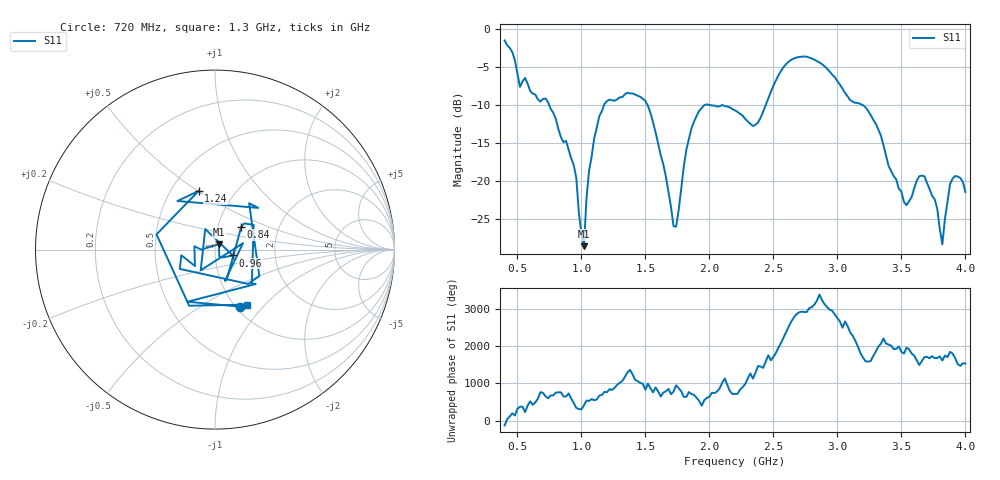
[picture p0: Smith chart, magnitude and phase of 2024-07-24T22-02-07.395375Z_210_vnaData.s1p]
!Created with skrf (http://scikit-rf.org).
# Hz S RI R 50.0
!freq ReS11 ImS11
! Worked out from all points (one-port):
!   181 points, 400 MHz to 4 GHz, reference 50 ohm
!   lowest |S11| = -28.6 dB at 1.02 GHz (marker M1), VSWR 1.08, Z = 52.1 + j3.14 ohm
!   |S11| at or under -10 dB: 1.516 GHz to 1.968 GHz (451.9 MHz wide, 25.9 % of centre); 1.997 GHz to 2.44 GHz (443.3 MHz wide, 20 % of centre); 3.194 GHz to end of sweep (the widest 3 of 4)
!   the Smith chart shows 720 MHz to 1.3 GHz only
!   S11 on the Smith chart (normalised r, x): 720 MHz: 1.05, -0.76; 840 MHz: 1.29, +0.34; 960 MHz: 1.22, -0.08; 1.24 GHz: 0.68, +0.50; 1.3 GHz: 1.14, -0.80
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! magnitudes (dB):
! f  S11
! 400 MHz  -1.5
! 520 MHz  -7.6
! 720 MHz  -9.2
! 840 MHz  -14.3
! 860 MHz  -14.9
! 960 MHz  -19.6
! 1.02 GHz  -28.6
! 1.06 GHz  -18.7
! 1.1 GHz  -14.4
! 1.24 GHz  -9.4
! 1.3 GHz  -9.0
! 1.5 GHz  -9.5
! 1.64 GHz  -17.9
! 1.72 GHz  -26.0
! 1.76 GHz  -23.9
! 1.82 GHz  -15.9
! 1.92 GHz  -10.8
! 2.2 GHz  -10.7
! 2.36 GHz  -12.6
! 2.66 GHz  -3.9
! 3.1 GHz  -9.4
! 3.26 GHz  -11.3
! 3.56 GHz  -22.7
! 3.68 GHz  -19.4
! 3.78 GHz  -23.7
! 3.82 GHz  -28.4
! 3.88 GHz  -20.5
! 4 GHz  -21.5
